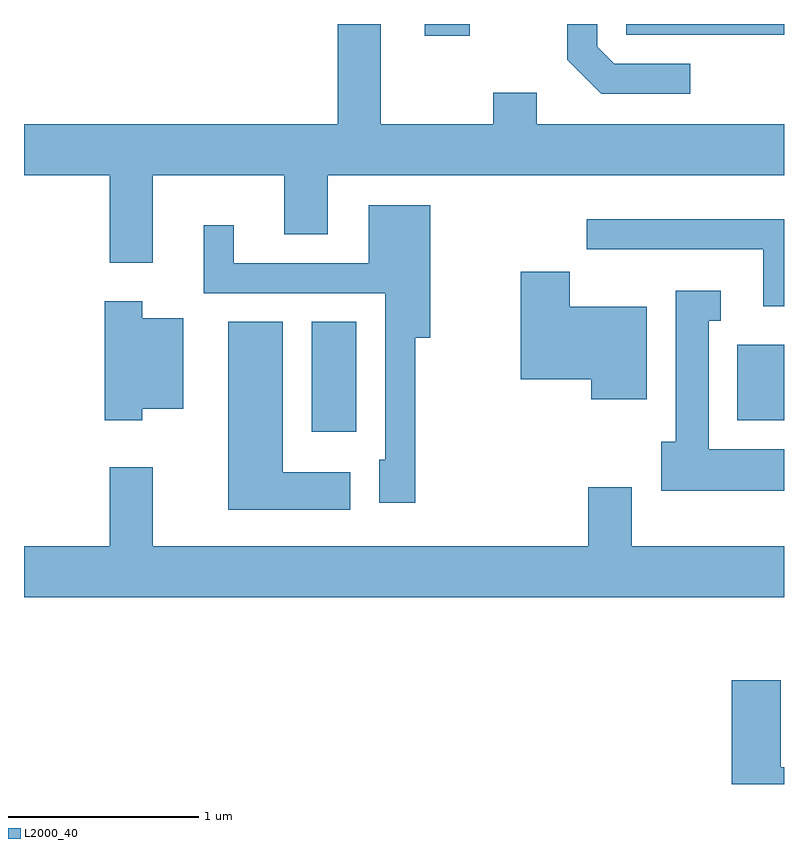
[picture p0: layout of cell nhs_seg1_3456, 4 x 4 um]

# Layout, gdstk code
import gdstk
lib = gdstk.Library(unit=1e-6, precision=1e-09)
def R(c, l, rs):  # rectangles x0, y0, x1, y1
    for r in rs: c.add(gdstk.rectangle(r[:2], r[2:], *l))
def P(c, l, *ps):  # polygons
    for p in ps: c.add(gdstk.Polygon(p, *l))
L2000_40 = (2000, 40)

nhs_seg1_3456 = lib.new_cell('nhs_seg1_3456')
R(nhs_seg1_3456, L2000_40, [(291.126,891.566,291.359,892.144), (293.366,891.626,293.611,892.024), (291.721,893.651,291.958,893.712), (292.781,893.656,293.611,893.712)])
P(nhs_seg1_3456, L2000_40, [(290.289,892.916),(290.981,892.916),(290.981,892.606),(291.209,892.606),(291.209,892.916),(293.611,892.916),(293.611,893.184),(292.309,893.184),(292.309,893.349),(292.081,893.349),(292.081,893.184),(291.489,893.184),(291.489,893.712),(291.261,893.712),(291.261,893.184),(289.611,893.184),(289.611,892.916),(290.061,892.916),(290.061,892.456),(290.289,892.456)],
  [(293.118,893.504),(292.717,893.504),(292.629,893.592),(292.629,893.712),(292.471,893.712),(292.471,893.524),(292.649,893.346),(293.118,893.346)],
  [(291.669,892.061),(291.749,892.061),(291.749,892.759),(291.426,892.759),(291.426,892.454),(290.714,892.454),(290.714,892.653),(290.556,892.653),(290.556,892.296),(291.511,892.296),(291.511,891.419),(291.481,891.419),(291.481,891.191),(291.669,891.191)],
  [(293.611,892.684),(292.573,892.684),(292.573,892.526),(293.501,892.526),(293.501,892.226),(293.611,892.226)],
  [(292.889,892.224),(292.484,892.224),(292.484,892.409),(292.226,892.409),(292.226,891.841),(292.596,891.841),(292.596,891.736),(292.889,891.736)],
  [(293.611,891.474),(293.214,891.474),(293.214,892.151),(293.278,892.151),(293.278,892.309),(293.041,892.309),(293.041,891.514),(292.966,891.514),(292.966,891.256),(293.611,891.256)],
  [(290.234,891.686),(290.449,891.686),(290.449,892.164),(290.234,892.164),(290.234,892.254),(290.036,892.254),(290.036,891.626),(290.234,891.626)],
  [(291.329,891.354),(290.974,891.354),(290.974,892.144),(290.686,892.144),(290.686,891.156),(291.329,891.156)],
  [(293.611,890.964),(292.809,890.964),(292.809,891.274),(292.581,891.274),(292.581,890.964),(290.289,890.964),(290.289,891.379),(290.061,891.379),(290.061,890.964),(289.611,890.964),(289.611,890.696),(293.611,890.696)],
  [(293.611,889.799),(293.594,889.799),(293.594,890.259),(293.336,890.259),(293.336,889.712),(293.611,889.712)])

lib.write_gds('nhs_seg1_3456.gds')
